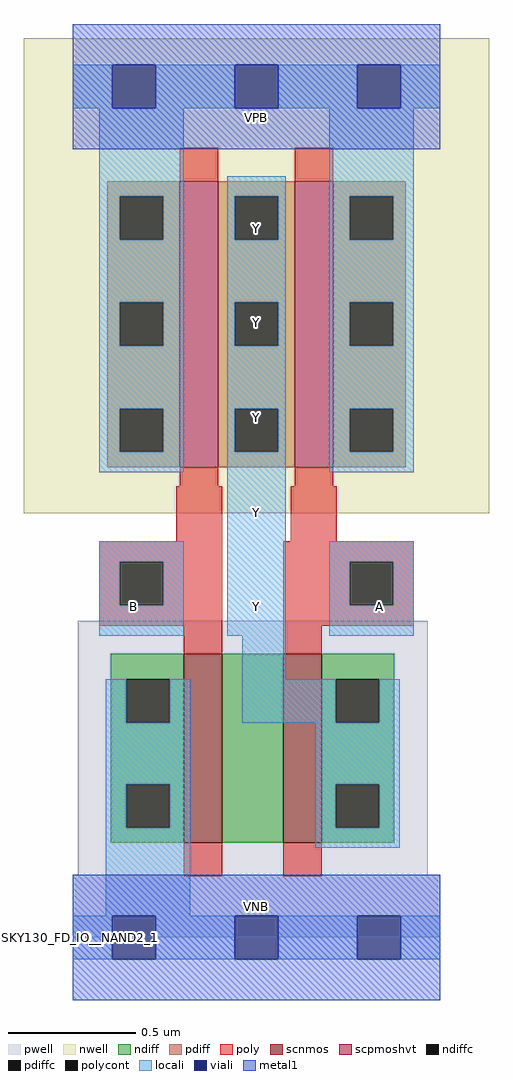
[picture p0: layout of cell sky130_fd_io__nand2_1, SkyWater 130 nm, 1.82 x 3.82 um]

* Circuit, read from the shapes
.subckt sky130_fd_io__nand2_1 VNB VPB VPWR VGND B Y A
XM1 n1 B VGND VNB sky130_fd_pr__nfet_01v8 w=0.74 l=0.15
XM2 Y A n1 VNB sky130_fd_pr__nfet_01v8 w=0.74 l=0.15
XM3 Y B VPWR VPB sky130_fd_pr__pfet_01v8_hvt w=1.12 l=0.15
XM4 VPWR A Y VPB sky130_fd_pr__pfet_01v8_hvt w=1.12 l=0.15
.ends

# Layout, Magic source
magic
tech sky130A
magscale 1 2
<< nwell >>
rect -38 332 326 704
<< pwell >>
rect 4 49 278 248
rect 0 0 288 49
<< scnmos >>
rect 87 74 117 222
rect 165 74 195 222
<< scpmoshvt >>
rect 84 368 114 592
rect 174 368 204 592
<< ndiff >>
rect 30 202 87 222
rect 30 168 42 202
rect 76 168 87 202
rect 30 120 87 168
rect 30 86 42 120
rect 76 86 87 120
rect 30 74 87 86
rect 117 74 165 222
rect 195 202 252 222
rect 195 168 206 202
rect 240 168 252 202
rect 195 120 252 168
rect 195 86 206 120
rect 240 86 252 120
rect 195 74 252 86
<< pdiff >>
rect 27 580 84 592
rect 27 546 37 580
rect 71 546 84 580
rect 27 497 84 546
rect 27 463 37 497
rect 71 463 84 497
rect 27 414 84 463
rect 27 380 37 414
rect 71 380 84 414
rect 27 368 84 380
rect 114 580 174 592
rect 114 546 127 580
rect 161 546 174 580
rect 114 497 174 546
rect 114 463 127 497
rect 161 463 174 497
rect 114 414 174 463
rect 114 380 127 414
rect 161 380 174 414
rect 114 368 174 380
rect 204 580 261 592
rect 204 546 217 580
rect 251 546 261 580
rect 204 497 261 546
rect 204 463 217 497
rect 251 463 261 497
rect 204 414 261 463
rect 204 380 217 414
rect 251 380 261 414
rect 204 368 261 380
<< ndiffc >>
rect 42 168 76 202
rect 42 86 76 120
rect 206 168 240 202
rect 206 86 240 120
<< pdiffc >>
rect 37 546 71 580
rect 37 463 71 497
rect 37 380 71 414
rect 127 546 161 580
rect 127 463 161 497
rect 127 380 161 414
rect 217 546 251 580
rect 217 463 251 497
rect 217 380 251 414
<< poly >>
rect 84 592 114 618
rect 174 592 204 618
rect 84 353 114 368
rect 174 353 204 368
rect 81 310 117 353
rect 171 310 207 353
rect 21 294 117 310
rect 21 260 37 294
rect 71 260 117 294
rect 21 244 117 260
rect 87 222 117 244
rect 165 294 267 310
rect 165 260 217 294
rect 251 260 267 294
rect 165 244 267 260
rect 165 222 195 244
rect 87 48 117 74
rect 165 48 195 74
<< polycont >>
rect 37 260 71 294
rect 217 260 251 294
<< locali >>
rect 0 649 31 683
rect 65 649 127 683
rect 161 649 223 683
rect 257 649 288 683
rect 21 580 87 649
rect 21 546 37 580
rect 71 546 87 580
rect 21 497 87 546
rect 21 463 37 497
rect 71 463 87 497
rect 21 414 87 463
rect 21 380 37 414
rect 71 380 87 414
rect 21 364 87 380
rect 121 580 167 596
rect 121 546 127 580
rect 161 546 167 580
rect 121 497 167 546
rect 121 463 127 497
rect 161 463 167 497
rect 121 414 167 463
rect 121 380 127 414
rect 161 380 167 414
rect 21 294 87 310
rect 21 260 37 294
rect 71 260 87 294
rect 21 236 87 260
rect 121 236 167 380
rect 201 580 267 649
rect 201 546 217 580
rect 251 546 267 580
rect 201 497 267 546
rect 201 463 217 497
rect 251 463 267 497
rect 201 414 267 463
rect 201 380 217 414
rect 251 380 267 414
rect 201 364 267 380
rect 201 294 267 310
rect 201 260 217 294
rect 251 260 267 294
rect 201 236 267 260
rect 133 202 167 236
rect 26 168 42 202
rect 76 168 92 202
rect 133 168 206 202
rect 240 168 256 202
rect 26 120 92 168
rect 26 86 42 120
rect 76 86 92 120
rect 26 17 92 86
rect 190 120 256 168
rect 190 86 206 120
rect 240 86 256 120
rect 190 70 256 86
rect 0 -17 31 17
rect 65 -17 127 17
rect 161 -17 223 17
rect 257 -17 288 17
<< viali >>
rect 31 649 65 683
rect 127 649 161 683
rect 223 649 257 683
rect 31 -17 65 17
rect 127 -17 161 17
rect 223 -17 257 17
<< metal1 >>
rect 0 683 288 715
rect 0 649 31 683
rect 65 649 127 683
rect 161 649 223 683
rect 257 649 288 683
rect 0 617 288 649
rect 0 17 288 49
rect 0 -17 31 17
rect 65 -17 127 17
rect 161 -17 223 17
rect 257 -17 288 17
rect 0 -49 288 -17
<< labels >>
rlabel comment s 0 0 0 0 4 SKY130_FD_IO__NAND2_1
flabel pwell s 0 0 288 49 0 FreeSans 200 0 0 0 VNB
port 1 nsew
flabel nwell s 0 617 288 666 0 FreeSans 200 0 0 0 VPB
port 2 nsew
flabel metal1 s 0 617 288 666 0 FreeSans 340 0 0 0 VPWR
port 3 nsew
flabel metal1 s 0 0 288 49 0 FreeSans 340 0 0 0 VGND
port 4 nsew
flabel locali s 31 242 65 276 0 FreeSans 340 0 0 0 B
port 5 nsew
flabel locali s 127 242 161 276 0 FreeSans 340 0 0 0 Y
port 6 nsew
flabel locali s 127 316 161 350 0 FreeSans 340 0 0 0 Y
port 6 nsew
flabel locali s 127 390 161 424 0 FreeSans 340 0 0 0 Y
port 6 nsew
flabel locali s 127 464 161 498 0 FreeSans 340 0 0 0 Y
port 6 nsew
flabel locali s 127 538 161 572 0 FreeSans 340 0 0 0 Y
port 6 nsew
flabel locali s 223 242 257 276 0 FreeSans 340 0 0 0 A
port 7 nsew
<< properties >>
string FIXED_BBOX 0 0 288 666
string GDS_FILE $PDKPATH/libs.ref/sky130_fd_io/gds/sky130_ef_io__gpiov2_pad_wrapped.gds
string GDS_END 338000
string GDS_START 333794
<< end >>
